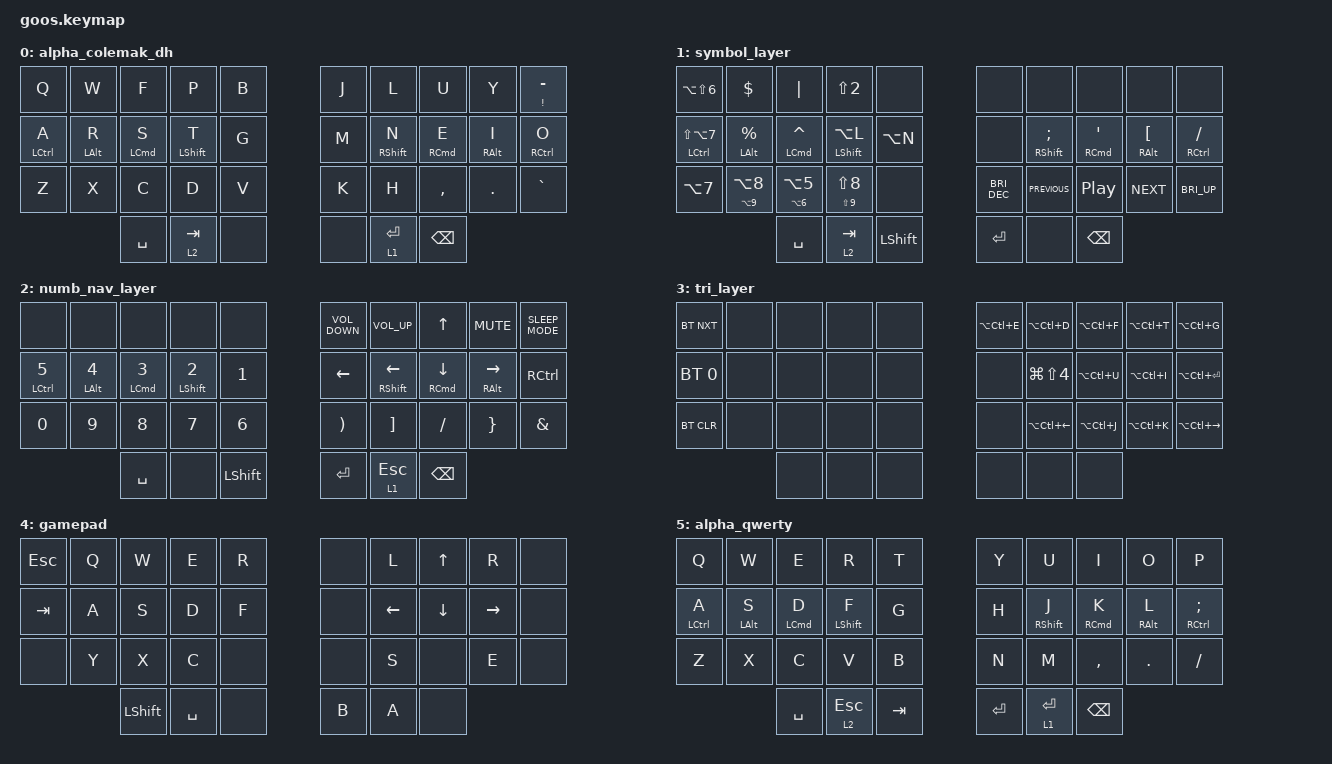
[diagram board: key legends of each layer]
/*
 * Copyright (c) 2021 The ZMK Contributors
 *
 * SPDX-License-Identifier: MIT
 */

#include <behaviors.dtsi>
#include <dt-bindings/zmk/bt.h>
#include <dt-bindings/zmk/keys.h>

&lt { flavor = "hold-preferred"; };

&sk { release-after-ms = <2000>; };

/ {
    conditional_layers {
        compatible = "zmk,conditional-layers";

        Tri {
            if-layers = <2 1>;
            then-layer = <3>;
        };
    };

    behaviors {
        hrm: home_row_mods {
            compatible = "zmk,behavior-hold-tap";
            label = "HOME_ROW_MODS";
            #binding-cells = <2>;
            flavor = "balanced";
            tapping-term-ms = <200>;
            bindings = <&kp>, <&kp>;
        };

        lt_repeat: lt_repeat {
            compatible = "zmk,behavior-hold-tap";
            label = "LT_REPEAT";
            bindings = <&mo>, <&key_repeat>;

            #binding-cells = <2>;
            flavor = "hold-preferred";
            tapping-term-ms = <200>;
        };
    };

    combos {
        compatible = "zmk,combos";

        Gamepad {
            bindings = <&tog 4>;
            key-positions = <8 28>;
        };

        toggle_colemak {
            bindings = <&tog 5>;
            key-positions = <0 20>;
        };

        Escape {
            bindings = <&kp ESCAPE>;
            key-positions = <30 35>;
        };

        Permanent_Num {
            bindings = <&tog 2>;
            key-positions = <33 32>;
        };

        HyperKey {
            bindings = <&sk LS(LA(LC(RIGHT_COMMAND)))>;
            key-positions = <13 16>;
        };
    };

    keymap {
        compatible = "zmk,keymap";

        alpha_colemak_dh {
            bindings = <
&kp Q                &kp W            &kp F                &kp P              &kp B                      &kp J        &kp L               &kp U                 &kp Y             &mt EXCLAMATION MINUS
&hrm LEFT_CONTROL A  &hrm LEFT_ALT R  &hrm LEFT_COMMAND S  &hrm LEFT_SHIFT T  &kp G                      &kp M        &hrm RIGHT_SHIFT N  &hrm RIGHT_COMMAND E  &hrm RIGHT_ALT I  &hrm RIGHT_CONTROL O
&kp Z                &kp X            &kp C                &kp D              &kp V                      &kp K        &kp H               &kp COMMA             &kp DOT           &kp GRAVE
                                                           &kp SPACE          &lt 2 TAB  &none    &none  &lt 1 ENTER  &kp BSPC
            >;
        };

        Symbol {
            bindings = <
&kp LA(LS(NUMBER_6))          &kp DOLLAR             &kp PIPE                 &kp LS(NUMBER_2)       &none                                   &none          &none                       &none                   &none                        &none
&hrm LEFT_CONTROL LS(LA(N7))  &hrm LEFT_ALT PERCENT  &hrm LEFT_COMMAND CARET  &hrm LEFT_SHIFT LA(L)  &kp LA(N)                               &none          &hrm RIGHT_SHIFT SEMICOLON  &hrm RIGHT_COMMAND SQT  &hrm RIGHT_ALT LEFT_BRACKET  &hrm RIGHT_CONTROL SLASH
&kp LA(N7)                    &mt LA(N9) LA(N8)      &mt LA(NUMBER_6) LA(N5)  &mt LS(N9) LS(N8)      &none                                   &kp C_BRI_DEC  &kp C_PREVIOUS              &kp C_PLAY_PAUSE        &kp C_NEXT                   &kp C_BRI_UP
                                                                              &kp SPACE              &lt 2 TAB  &kp LEFT_SHIFT    &kp ENTER  &none          &kp BACKSPACE
            >;

            label = "symbol_layer";
        };

        Numbers_Navigation {
            bindings = <
&none                 &none                   &none                       &none                     &none                                      &kp C_VOLUME_DOWN      &kp C_VOLUME_UP        &kp UP_ARROW             &kp K_MUTE            &kp C_SLEEP_MODE
&hrm LEFT_CONTROL N5  &hrm LEFT_ALT NUMBER_4  &hrm LEFT_COMMAND NUMBER_3  &hrm LEFT_SHIFT NUMBER_2  &kp NUMBER_1                               &kp LEFT               &hrm RIGHT_SHIFT LEFT  &hrm RIGHT_COMMAND DOWN  &hrm RIGHT_ALT RIGHT  &kp RIGHT_CONTROL
&kp N0                &kp N9                  &kp N8                      &kp N7                    &kp NUMBER_6                               &kp RIGHT_PARENTHESIS  &kp RIGHT_BRACKET      &kp SLASH                &kp RIGHT_BRACE       &kp AMPERSAND
                                                                          &kp SPACE                 &none         &kp LEFT_SHIFT    &kp ENTER  &lt 1 ESCAPE           &kp BSPC
            >;

            label = "numb_nav_layer";
        };

        Tri {
            bindings = <
&bt BT_NXT    &none  &none  &none  &none                  &kp LA(LC(E))  &kp LA(LC(D))     &kp LA(LC(F))  &kp LA(LC(T))  &kp LA(LC(G))
&bt BT_SEL 0  &none  &none  &none  &none                  &none          &kp LG(LS(N4))    &kp LA(LC(U))  &kp LA(LC(I))  &kp LA(LC(ENTER))
&bt BT_CLR    &none  &none  &none  &none                  &none          &kp LA(LC(LEFT))  &kp LA(LC(J))  &kp LA(LC(K))  &kp LA(LC(RIGHT))
                            &none  &none  &none    &none  &none          &none
            >;

            label = "tri_layer";
        };

        gamepad {
            bindings = <
&kp ESC  &kp Q  &kp W  &kp E      &kp R                      &none  &kp L     &kp UP    &kp R      &none
&kp TAB  &kp A  &kp S  &kp D      &kp F                      &none  &kp LEFT  &kp DOWN  &kp RIGHT  &none
&none    &kp Y  &kp X  &kp C      &none                      &none  &kp S     &none     &kp E      &none
                       &kp LSHFT  &kp SPACE  &none    &kp B  &kp A  &none
            >;
        };

        alpha_qwerty {
            bindings = <
&kp Q                &kp W            &kp E                &kp R              &kp T                               &kp Y        &kp U               &kp I                 &kp O             &kp P
&hrm LEFT_CONTROL A  &hrm LEFT_ALT S  &hrm LEFT_COMMAND D  &hrm LEFT_SHIFT F  &kp G                               &kp H        &hrm RIGHT_SHIFT J  &hrm RIGHT_COMMAND K  &hrm RIGHT_ALT L  &hrm RIGHT_CONTROL SEMICOLON
&kp Z                &kp X            &kp C                &kp V              &kp B                               &kp N        &kp M               &kp COMMA             &kp DOT           &kp SLASH
                                                           &kp SPACE          &lt 2 ESCAPE  &kp TAB    &kp ENTER  &lt 1 ENTER  &kp BSPC
            >;
        };
    };
};
